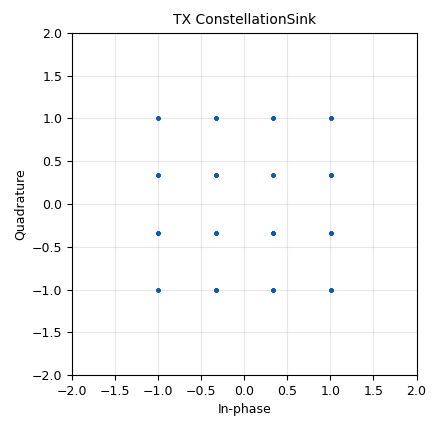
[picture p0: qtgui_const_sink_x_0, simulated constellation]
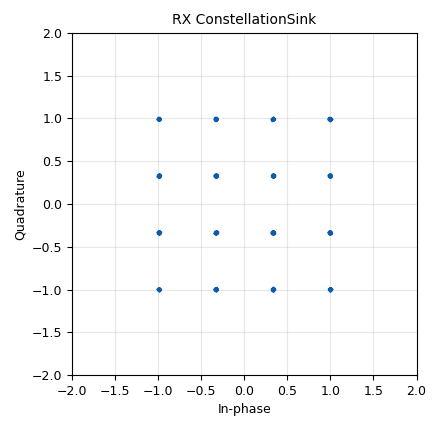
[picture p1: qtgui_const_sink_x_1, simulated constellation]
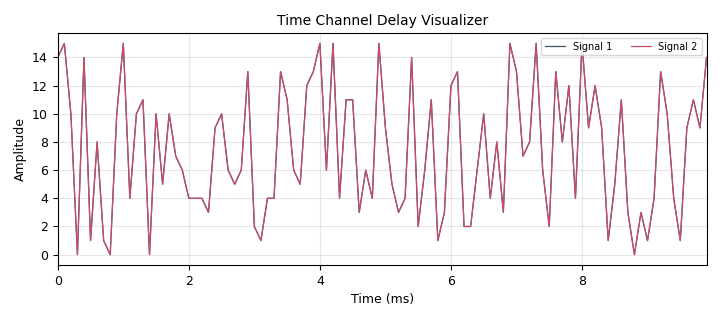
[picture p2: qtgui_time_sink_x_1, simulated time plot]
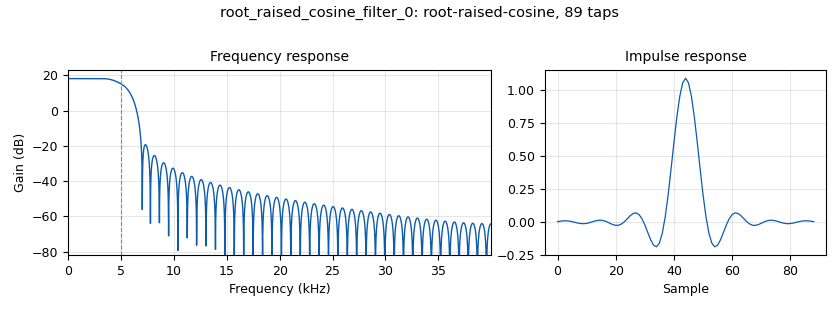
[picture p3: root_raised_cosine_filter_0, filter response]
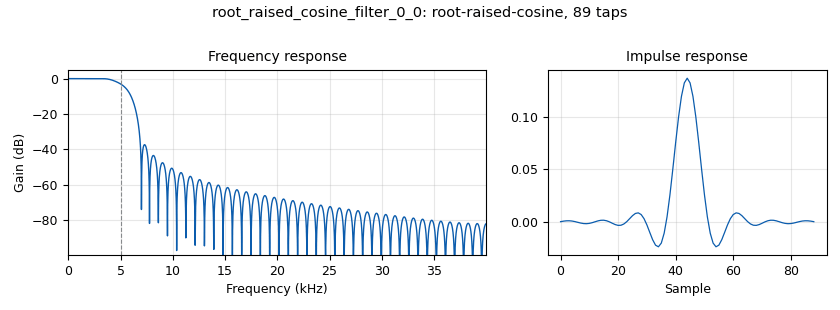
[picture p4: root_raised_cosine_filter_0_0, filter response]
options:
  parameters:
    author: shiprect
    description: Perform QAM in a noisy channel and calculate the BER
    generate_options: qt_gui
    id: QAM_Channel_Simulation
    output_language: python
    title: QAM_Channel_Simulation
  states: {}

blocks:
- name: ChannelDelay
  id: variable_qtgui_range
  parameters:
    comment: Channel Delay
    label: Channel Delay
    start: '0'
    step: '1'
    stop: '25'
    value: '0'
  states: {}
- name: Delay
  id: variable_qtgui_range
  parameters:
    label: Delay
    start: '0'
    step: '1'
    stop: '100'
    value: '11'
  states: {}
- name: FrequencyShiftAmplitude
  id: variable_qtgui_range
  parameters:
    comment: Channel Frequency Shift Amplitude
    label: Frequency Shift Amplitude
    start: '0'
    step: '.025'
    stop: '1'
    value: '1'
  states: {}
- name: FrequencyShiftFrequency
  id: variable_qtgui_range
  parameters:
    comment: Channel Frequency Shift Frequency
    label: Frequency Shift Frequency
    start: '0'
    step: '0.01'
    stop: '10'
    value: '0'
  states: {}
- name: NoiseAmplitude
  id: variable_qtgui_range
  parameters:
    comment: Channel AWGN Amplitude
    label: Noise Amplitude
    start: '0'
    step: '.025'
    stop: '5'
    value: '0'
  states: {}
- name: PhaseShift
  id: variable_qtgui_range
  parameters:
    comment: Channel Phase Shift
    label: Phase Shift
    start: '0'
    step: '1'
    stop: '180'
    value: '0'
  states: {}
- name: QAM
  id: variable_constellation
  parameters:
    const_points: '[(-3-3j), (-1-3j), (1-3j), (3-3j), (-3-1j), (-1-1j), (1-1j), (3-1j), (-3+1j), (-1+1j), (1+1j), (3+1j), (-3+3j), (-1+3j), (1+3j), (3+3j)]'
    dims: '1'
    normalization: digital.constellation.AMPLITUDE_NORMALIZATION
    precision: '8'
    rot_sym: '4'
    sym_map: '[0, 4, 12, 8, 1, 5, 13, 9, 3, 7, 15, 11, 2, 6, 14, 10]'
    type: calcdist
  states: {}
- name: RRC_Alpha
  id: variable
  parameters:
    value: '.35'
  states: {}
- name: SampleRate
  id: variable
  parameters:
    value: SymbolRate*SamplesPerSymbol
  states: {}
- name: SamplesPerSymbol
  id: variable
  parameters:
    value: '8'
  states: {}
- name: SymbolRate
  id: variable
  parameters:
    value: '10000'
  states: {}
- name: BER_NumberSink
  id: qtgui_number_sink
  parameters:
    graph_type: qtgui.NUM_GRAPH_HORIZ
    name: '"BER_NumberSink"'
    type: float
  states: {}
- name: RX_DATA_NumberSink
  id: qtgui_number_sink
  parameters:
    graph_type: qtgui.NUM_GRAPH_HORIZ
    name: '"RX_DATA_NumberSink"'
    type: byte
  states: {state: disabled}
- name: TX_DATA_NumberSink
  id: qtgui_number_sink
  parameters:
    graph_type: qtgui.NUM_GRAPH_HORIZ
    name: '"TX_DATA_NumberSink"'
    type: byte
  states: {state: disabled}
- name: analog_noise_source_x_0
  id: analog_noise_source_x
  parameters:
    amp: NoiseAmplitude
    noise_type: analog.GR_GAUSSIAN
    seed: '0'
    type: complex
  states: {}
- name: analog_random_source_x_0
  id: analog_random_source_x
  parameters:
    max: '16'
    min: '0'
    num_samps: '1000'
    repeat: 'True'
    type: byte
  states: {}
- name: analog_sig_source_x_0
  id: analog_sig_source_x
  parameters:
    amp: FrequencyShiftAmplitude
    freq: FrequencyShiftFrequency
    offset: '0'
    phase: '0'
    samp_rate: SampleRate
    type: complex
    waveform: analog.GR_COS_WAVE
  states: {}
- name: blocks_add_xx_0
  id: blocks_add_xx
  parameters:
    type: complex
  states: {}
- name: blocks_char_to_float_0
  id: blocks_char_to_float
  parameters:
    scale: '1'
  states: {}
- name: blocks_char_to_float_0_0
  id: blocks_char_to_float
  parameters:
    scale: '1'
  states: {}
- name: blocks_delay_0
  id: blocks_delay
  parameters:
    delay: '7'
    type: complex
  states: {}
- name: blocks_delay_0_0
  id: blocks_delay
  parameters:
    delay: Delay
    type: byte
  states: {}
- name: blocks_delay_1
  id: blocks_delay
  parameters:
    delay: ChannelDelay
    type: complex
  states: {}
- name: blocks_keep_one_in_n_0
  id: blocks_keep_one_in_n
  parameters:
    n: '8'
    type: complex
  states: {}
- name: blocks_multiply_xx_0
  id: blocks_multiply_xx
  parameters:
    type: complex
  states: {}
- name: blocks_pack_k_bits_bb_0
  id: blocks_pack_k_bits_bb
  parameters:
    k: '8'
  states: {}
- name: blocks_pack_k_bits_bb_1
  id: blocks_pack_k_bits_bb
  parameters:
    k: '8'
  states: {}
- name: blocks_phase_shift_0
  id: blocks_phase_shift
  parameters:
    is_radians: 'True'
    shift: PhaseShift
  states: {}
- name: blocks_throttle2_0
  id: blocks_throttle2
  parameters:
    samples_per_second: SymbolRate*SamplesPerSymbol
    type: byte
  states: {}
- name: blocks_unpack_k_bits_bb_0
  id: blocks_unpack_k_bits_bb
  parameters:
    k: '4'
  states: {}
- name: blocks_unpack_k_bits_bb_0_0
  id: blocks_unpack_k_bits_bb
  parameters:
    k: '4'
  states: {}
- name: digital_constellation_decoder_cb_0
  id: digital_constellation_decoder_cb
  parameters:
    constellation: QAM
  states: {}
- name: digital_constellation_encoder_bc_0
  id: digital_constellation_encoder_bc
  parameters:
    constellation: QAM
  states: {}
- name: fec_ber_bf_0
  id: fec_ber_bf
  parameters:
    test_mode: 'False'
  states: {}
- name: qtgui_const_sink_x_0
  id: qtgui_const_sink_x
  parameters:
    grid: 'True'
    name: '"TX ConstellationSink"'
    size: '1024'
    type: complex
  states: {}
- name: qtgui_const_sink_x_1
  id: qtgui_const_sink_x
  parameters:
    grid: 'True'
    name: '"RX ConstellationSink"'
    size: '1024'
    type: complex
  states: {}
- name: qtgui_eye_sink_x_0
  id: qtgui_eye_sink_x
  parameters:
    ctrlpanel: 'True'
    grid: 'True'
    samp_per_symbol: SamplesPerSymbol
    size: '1024'
    srate: SampleRate
    type: complex
  states: {state: disabled}
- name: qtgui_freq_sink_x_0
  id: qtgui_freq_sink_x
  parameters:
    bw: SampleRate
    ctrlpanel: 'True'
    fc: '0'
    fftsize: '1024'
    name: '"RX FrequencySink"'
    type: complex
  states: {state: disabled}
- name: qtgui_freq_sink_x_1
  id: qtgui_freq_sink_x
  parameters:
    autoscale: 'True'
    bw: SampleRate
    ctrlpanel: 'True'
    fc: '0'
    fftsize: '1024'
    grid: 'True'
    name: '"TX FrequencySink"'
    type: complex
  states: {state: disabled}
- name: qtgui_time_sink_x_0
  id: qtgui_time_sink_x
  parameters:
    autoscale: 'True'
    ctrlpanel: 'True'
    grid: 'True'
    name: '"TX TimeSink"'
    size: '1024'
    srate: SampleRate
    type: complex
  states: {state: disabled}
- name: qtgui_time_sink_x_1
  id: qtgui_time_sink_x
  parameters:
    autoscale: 'True'
    ctrlpanel: 'True'
    name: Time Channel Delay Visualizer
    nconnections: '2'
    size: '100'
    srate: SymbolRate
    type: float
  states: {}
- name: root_raised_cosine_filter_0
  id: root_raised_cosine_filter
  parameters:
    alpha: RRC_Alpha
    gain: SamplesPerSymbol
    interp: SamplesPerSymbol
    ntaps: 11*SamplesPerSymbol
    samp_rate: SampleRate
    sym_rate: SymbolRate
    type: interp_fir_filter_ccf
  states: {}
- name: root_raised_cosine_filter_0_0
  id: root_raised_cosine_filter
  parameters:
    alpha: RRC_Alpha
    gain: '1'
    interp: '1'
    ntaps: 11*SamplesPerSymbol
    samp_rate: SampleRate
    sym_rate: SymbolRate
    type: interp_fir_filter_ccf
  states: {}
- name: virtual_sink_0
  id: virtual_sink
  parameters:
    stream_id: TX
  states: {}
- name: virtual_sink_0_0
  id: virtual_sink
  parameters:
    stream_id: RX
  states: {}
- name: virtual_sink_1
  id: virtual_sink
  parameters:
    stream_id: TX_DATA
  states: {}
- name: virtual_sink_2
  id: virtual_sink
  parameters:
    stream_id: RX_DATA
  states: {}
- name: virtual_source_0
  id: virtual_source
  parameters:
    stream_id: TX
  states: {}
- name: virtual_source_0_0
  id: virtual_source
  parameters:
    stream_id: RX
  states: {}
- name: virtual_source_1
  id: virtual_source
  parameters:
    stream_id: TX_DATA
  states: {}
- name: virtual_source_2
  id: virtual_source
  parameters:
    stream_id: RX_DATA
  states: {}

connections:
- [analog_noise_source_x_0, '0', blocks_add_xx_0, '1']
- [analog_random_source_x_0, '0', blocks_throttle2_0, '0']
- [analog_sig_source_x_0, '0', blocks_multiply_xx_0, '1']
- [blocks_add_xx_0, '0', blocks_delay_1, '0']
- [blocks_char_to_float_0, '0', qtgui_time_sink_x_1, '0']
- [blocks_char_to_float_0_0, '0', qtgui_time_sink_x_1, '1']
- [blocks_delay_0, '0', blocks_keep_one_in_n_0, '0']
- [blocks_delay_0_0, '0', TX_DATA_NumberSink, '0']
- [blocks_delay_0_0, '0', blocks_char_to_float_0, '0']
- [blocks_delay_0_0, '0', blocks_unpack_k_bits_bb_0, '0']
- [blocks_delay_1, '0', blocks_multiply_xx_0, '0']
- [blocks_keep_one_in_n_0, '0', digital_constellation_decoder_cb_0, '0']
- [blocks_keep_one_in_n_0, '0', qtgui_const_sink_x_1, '0']
- [blocks_multiply_xx_0, '0', blocks_phase_shift_0, '0']
- [blocks_pack_k_bits_bb_0, '0', fec_ber_bf_0, '0']
- [blocks_pack_k_bits_bb_1, '0', fec_ber_bf_0, '1']
- [blocks_phase_shift_0, '0', virtual_sink_0_0, '0']
- [blocks_throttle2_0, '0', digital_constellation_encoder_bc_0, '0']
- [blocks_throttle2_0, '0', virtual_sink_1, '0']
- [blocks_unpack_k_bits_bb_0, '0', blocks_pack_k_bits_bb_0, '0']
- [blocks_unpack_k_bits_bb_0_0, '0', blocks_pack_k_bits_bb_1, '0']
- [digital_constellation_decoder_cb_0, '0', RX_DATA_NumberSink, '0']
- [digital_constellation_decoder_cb_0, '0', virtual_sink_2, '0']
- [digital_constellation_encoder_bc_0, '0', qtgui_const_sink_x_0, '0']
- [digital_constellation_encoder_bc_0, '0', root_raised_cosine_filter_0, '0']
- [fec_ber_bf_0, '0', BER_NumberSink, '0']
- [root_raised_cosine_filter_0, '0', qtgui_freq_sink_x_1, '0']
- [root_raised_cosine_filter_0, '0', qtgui_time_sink_x_0, '0']
- [root_raised_cosine_filter_0, '0', virtual_sink_0, '0']
- [root_raised_cosine_filter_0_0, '0', blocks_delay_0, '0']
- [root_raised_cosine_filter_0_0, '0', qtgui_eye_sink_x_0, '0']
- [root_raised_cosine_filter_0_0, '0', qtgui_freq_sink_x_0, '0']
- [virtual_source_0, '0', blocks_add_xx_0, '0']
- [virtual_source_0_0, '0', root_raised_cosine_filter_0_0, '0']
- [virtual_source_1, '0', blocks_delay_0_0, '0']
- [virtual_source_2, '0', blocks_char_to_float_0_0, '0']
- [virtual_source_2, '0', blocks_unpack_k_bits_bb_0_0, '0']

metadata:
  file_format: 1
  grc_version: 3.10.9.2
